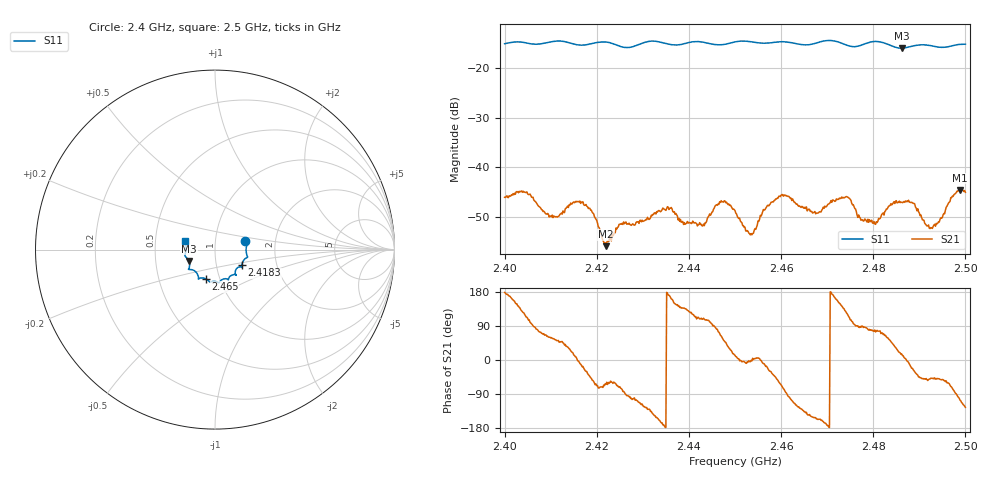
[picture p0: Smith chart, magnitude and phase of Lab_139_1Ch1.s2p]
# Hz S RI R 50
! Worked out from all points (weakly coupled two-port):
!   601 points, 2.4 GHz to 2.5 GHz, reference 50 ohm
!   highest |S21| = -44.56 dB at 2.4988 GHz (marker M1); lowest = -55.8 dB at 2.422 GHz (marker M2)
!   lowest |S11| = -16.0 dB at 2.4862 GHz (marker M3), VSWR 1.38, Z = 37.1 - j4.83 ohm
!   |S11| at or under -10 dB: start of sweep to end of sweep
!   S12 and S22 are empty: the file has one direction only
!   S11 on the Smith chart (normalised r, x): 2.4 GHz: 1.40, +0.13; 2.4183 GHz: 1.33, -0.24; 2.465 GHz: 0.86, -0.29; 2.5 GHz: 0.71, +0.07
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2.4e9  0.1688 0.0459  -0.00499 0.000162  0 0  0 0
2.4045e9  0.1774 0.0233  -0.00253 0.00499  0 0  0 0
2.411e9  0.1813 -0.0392  0.00188 0.00255  0 0  0 0
2.416667e9  0.1548 -0.0683  0.00435 -0.00107  0 0  0 0
2.418333e9  0.1501 -0.0868  0.00295 -0.00253  0 0  0 0
2.422e9  0.1523 -0.0998  0.000704 -0.00145  0 0  0 0
2.425333e9  0.131 -0.0975  0.000667 -0.0026  0 0  0 0
2.433333e9  0.1169 -0.1414  -0.00333 -0.00152  0 0  0 0
2.443e9  0.072 -0.1667  -0.000782 0.00246  0 0  0 0
2.447167e9  0.0422 -0.1659  0.00225 0.00389  0 0  0 0
2.45e9  0.0252 -0.1809  0.0036 0.000774  0 0  0 0
2.4535e9  0.0164 -0.1825  0.00216 -3.11e-05  0 0  0 0
2.459833e9  -0.0272 -0.1812  0.0023 -0.00453  0 0  0 0
2.465e9  -0.0526 -0.1623  -0.00281 -0.00268  0 0  0 0
2.466667e9  -0.0713 -0.1578  -0.0031 -0.00182  0 0  0 0
2.474333e9  -0.0972 -0.1379  -0.00268 0.00427  0 0  0 0
2.480333e9  -0.1477 -0.1104  0.000509 0.00265  0 0  0 0
2.483333e9  -0.1421 -0.0959  0.0023 0.00335  0 0  0 0
2.486167e9  -0.1447 -0.0634  0.00428 0.00123  0 0  0 0
2.492667e9  -0.1651 -0.0223  0.00165 -0.00184  0 0  0 0
2.498833e9  -0.1676 0.0412  -0.00163 -0.00568  0 0  0 0
2.5e9  -0.1667 0.047  -0.00321 -0.00461  0 0  0 0
